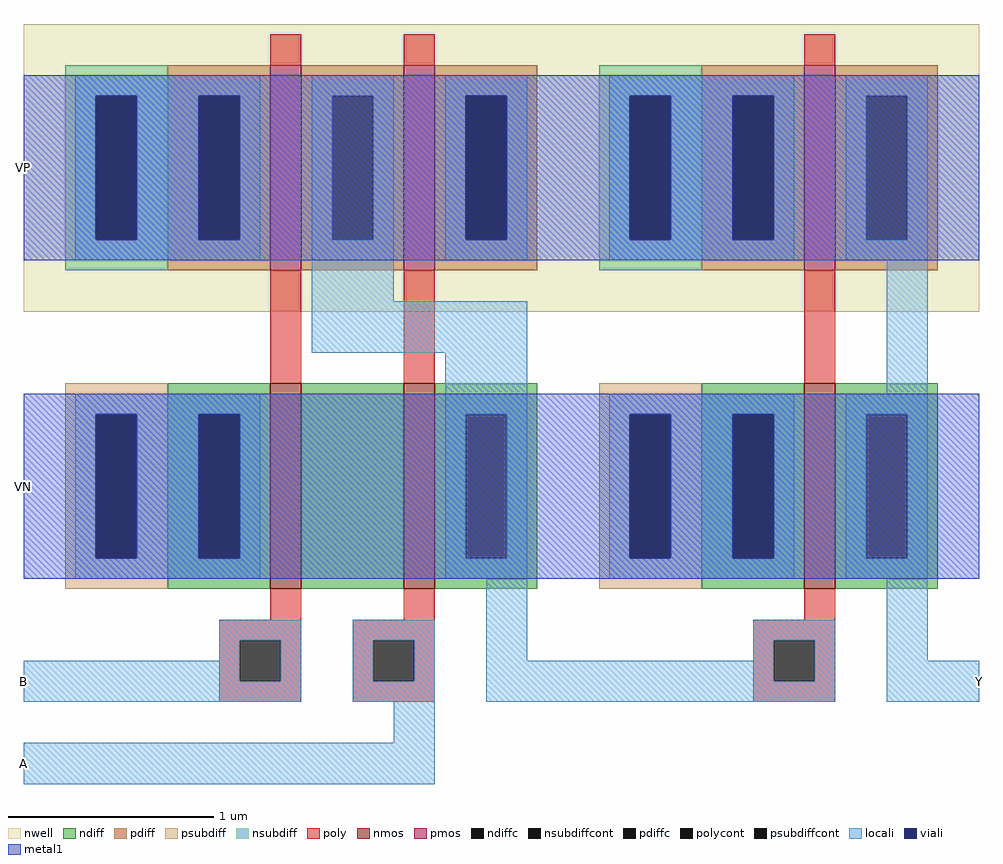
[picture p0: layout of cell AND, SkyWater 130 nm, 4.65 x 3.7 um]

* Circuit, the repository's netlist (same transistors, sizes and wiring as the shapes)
* NGSPICE file created from AND.ext - technology: sky130A

.subckt inverter A Y VP VN
X0 Y A VN VN sky130_fd_pr__nfet_01v8 ad=0.5 pd=3 as=0.5 ps=3 w=1 l=0.15
X1 Y A VP VP sky130_fd_pr__pfet_01v8 ad=0.5 pd=3 as=0.5 ps=3 w=1 l=0.15
.ends

.subckt NAND VP A B Y VN
X0 a_40_n670# B VN VN sky130_fd_pr__nfet_01v8 ad=0.25 pd=1.5 as=0.5 ps=3 w=1 l=0.15
X1 Y B VP VP sky130_fd_pr__pfet_01v8 ad=0.25 pd=1.5 as=0.5 ps=3 w=1 l=0.15
X2 Y A a_40_n670# VN sky130_fd_pr__nfet_01v8 ad=0.5 pd=3 as=0.25 ps=1.5 w=1 l=0.15
X3 VP A Y VP sky130_fd_pr__pfet_01v8 ad=0.5 pd=3 as=0.25 ps=1.5 w=1 l=0.15
.ends

.subckt AND
Xinverter_0 NAND_0/Y Y VP VN inverter
XNAND_0 VP A B NAND_0/Y VN NAND
.ends

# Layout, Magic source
magic
tech sky130A
<< locali >>
rect -265 -115 -240 -95
rect 180 -115 200 -95
rect -265 -155 -240 -135
<< metal1 >>
rect -265 100 -245 190
rect -265 -55 -245 35
use inverter  inverter_0
transform 1 0 190 0 1 -120
box -195 5 10 335
use NAND  NAND_0
transform 1 0 -150 0 1 275
box -115 -430 155 -60
<< labels >>
rlabel locali -265 -145 -265 -145 7 A
rlabel locali -265 -105 -265 -105 7 B
rlabel metal1 -265 -10 -265 -10 7 VN
rlabel metal1 -265 145 -265 145 7 VP
rlabel locali 200 -105 200 -105 3 Y
<< end >>

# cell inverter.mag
magic
tech sky130A
<< nwell >>
rect -195 195 10 335
<< nmos >>
rect -75 60 -60 160
<< pmos >>
rect -75 215 -60 315
<< ndiff >>
rect -125 145 -75 160
rect -125 75 -110 145
rect -90 75 -75 145
rect -125 60 -75 75
rect -60 145 -10 160
rect -60 75 -45 145
rect -25 75 -10 145
rect -60 60 -10 75
<< pdiff >>
rect -125 300 -75 315
rect -125 230 -110 300
rect -90 230 -75 300
rect -125 215 -75 230
rect -60 300 -10 315
rect -60 230 -45 300
rect -25 230 -10 300
rect -60 215 -10 230
<< ndiffc >>
rect -110 75 -90 145
rect -45 75 -25 145
<< pdiffc >>
rect -110 230 -90 300
rect -45 230 -25 300
<< psubdiff >>
rect -175 145 -125 160
rect -175 75 -160 145
rect -140 75 -125 145
rect -175 60 -125 75
<< nsubdiff >>
rect -175 300 -125 315
rect -175 230 -160 300
rect -140 230 -125 300
rect -175 215 -125 230
<< psubdiffcont >>
rect -160 75 -140 145
<< nsubdiffcont >>
rect -160 230 -140 300
<< poly >>
rect -75 315 -60 330
rect -75 160 -60 215
rect -75 45 -60 60
rect -100 35 -60 45
rect -100 15 -90 35
rect -70 15 -60 35
rect -100 5 -60 15
<< polycont >>
rect -90 15 -70 35
<< locali >>
rect -170 300 -80 310
rect -170 230 -160 300
rect -140 230 -110 300
rect -90 230 -80 300
rect -170 220 -80 230
rect -55 300 -15 310
rect -55 230 -45 300
rect -25 230 -15 300
rect -55 220 -15 230
rect -35 155 -15 220
rect -170 145 -80 155
rect -170 75 -160 145
rect -140 75 -110 145
rect -90 75 -80 145
rect -170 65 -80 75
rect -55 145 -15 155
rect -55 75 -45 145
rect -25 75 -15 145
rect -55 65 -15 75
rect -100 35 -60 45
rect -100 25 -90 35
rect -195 15 -90 25
rect -70 15 -60 35
rect -195 5 -60 15
rect -35 25 -15 65
rect -35 5 10 25
<< viali >>
rect -160 230 -140 300
rect -110 230 -90 300
rect -160 75 -140 145
rect -110 75 -90 145
<< metal1 >>
rect -195 300 10 310
rect -195 230 -160 300
rect -140 230 -110 300
rect -90 230 10 300
rect -195 220 10 230
rect -195 145 10 155
rect -195 75 -160 145
rect -140 75 -110 145
rect -90 75 10 145
rect -195 65 10 75
<< labels >>
rlabel locali -195 15 -195 15 7 A
port 2 w
rlabel locali 10 15 10 15 3 Y
port 3 e
rlabel metal1 -195 265 -195 265 7 VP
port 1 w
rlabel metal1 -195 110 -195 110 7 VN
port 4 w
<< end >>

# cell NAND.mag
magic
tech sky130A
<< nwell >>
rect -115 -200 155 -60
<< nmos >>
rect 5 -335 20 -235
rect 70 -335 85 -235
<< pmos >>
rect 5 -180 20 -80
rect 70 -180 85 -80
<< ndiff >>
rect -45 -250 5 -235
rect -45 -320 -30 -250
rect -10 -320 5 -250
rect -45 -335 5 -320
rect 20 -335 70 -235
rect 85 -250 135 -235
rect 85 -320 100 -250
rect 120 -320 135 -250
rect 85 -335 135 -320
<< pdiff >>
rect -45 -95 5 -80
rect -45 -165 -30 -95
rect -10 -165 5 -95
rect -45 -180 5 -165
rect 20 -95 70 -80
rect 20 -165 35 -95
rect 55 -165 70 -95
rect 20 -180 70 -165
rect 85 -95 135 -80
rect 85 -165 100 -95
rect 120 -165 135 -95
rect 85 -180 135 -165
<< ndiffc >>
rect -30 -320 -10 -250
rect 100 -320 120 -250
<< pdiffc >>
rect -30 -165 -10 -95
rect 35 -165 55 -95
rect 100 -165 120 -95
<< psubdiff >>
rect -95 -250 -45 -235
rect -95 -320 -80 -250
rect -60 -320 -45 -250
rect -95 -335 -45 -320
<< nsubdiff >>
rect -95 -95 -45 -80
rect -95 -165 -80 -95
rect -60 -165 -45 -95
rect -95 -180 -45 -165
<< psubdiffcont >>
rect -80 -320 -60 -250
<< nsubdiffcont >>
rect -80 -165 -60 -95
<< poly >>
rect 5 -80 20 -65
rect 70 -80 85 -65
rect 5 -235 20 -180
rect 70 -235 85 -180
rect 5 -350 20 -335
rect 70 -350 85 -335
rect -20 -360 20 -350
rect -20 -380 -10 -360
rect 10 -380 20 -360
rect -20 -390 20 -380
rect 45 -360 85 -350
rect 45 -380 55 -360
rect 75 -380 85 -360
rect 45 -390 85 -380
<< polycont >>
rect -10 -380 10 -360
rect 55 -380 75 -360
<< locali >>
rect -90 -95 0 -85
rect -90 -165 -80 -95
rect -60 -165 -30 -95
rect -10 -165 0 -95
rect -90 -175 0 -165
rect 25 -95 65 -85
rect 25 -165 35 -95
rect 55 -165 65 -95
rect 25 -195 65 -165
rect 90 -95 130 -85
rect 90 -165 100 -95
rect 120 -165 130 -95
rect 90 -175 130 -165
rect 25 -220 130 -195
rect -90 -250 0 -240
rect -90 -320 -80 -250
rect -60 -320 -30 -250
rect -10 -320 0 -250
rect -90 -330 0 -320
rect 90 -250 130 -220
rect 90 -320 100 -250
rect 120 -320 130 -250
rect 90 -330 130 -320
rect -20 -360 20 -350
rect -20 -370 -10 -360
rect -115 -380 -10 -370
rect 10 -380 20 -360
rect -115 -390 20 -380
rect 45 -360 85 -350
rect 45 -380 55 -360
rect 75 -380 85 -360
rect 45 -390 85 -380
rect 110 -370 130 -330
rect 110 -390 155 -370
rect 65 -410 85 -390
rect -115 -430 85 -410
<< viali >>
rect -80 -165 -60 -95
rect -30 -165 -10 -95
rect 100 -165 120 -95
rect -80 -320 -60 -250
rect -30 -320 -10 -250
<< metal1 >>
rect -115 -95 155 -85
rect -115 -165 -80 -95
rect -60 -165 -30 -95
rect -10 -165 100 -95
rect 120 -165 155 -95
rect -115 -175 155 -165
rect -115 -250 155 -240
rect -115 -320 -80 -250
rect -60 -320 -30 -250
rect -10 -320 155 -250
rect -115 -330 155 -320
<< labels >>
rlabel locali -115 -420 -115 -420 7 A
port 2 w
rlabel locali -115 -380 -115 -380 7 B
port 3 w
rlabel locali 155 -380 155 -380 3 Y
port 4 e
rlabel metal1 -115 -130 -115 -130 7 VP
port 1 w
rlabel metal1 -115 -285 -115 -285 7 VN
port 5 w
<< end >>
